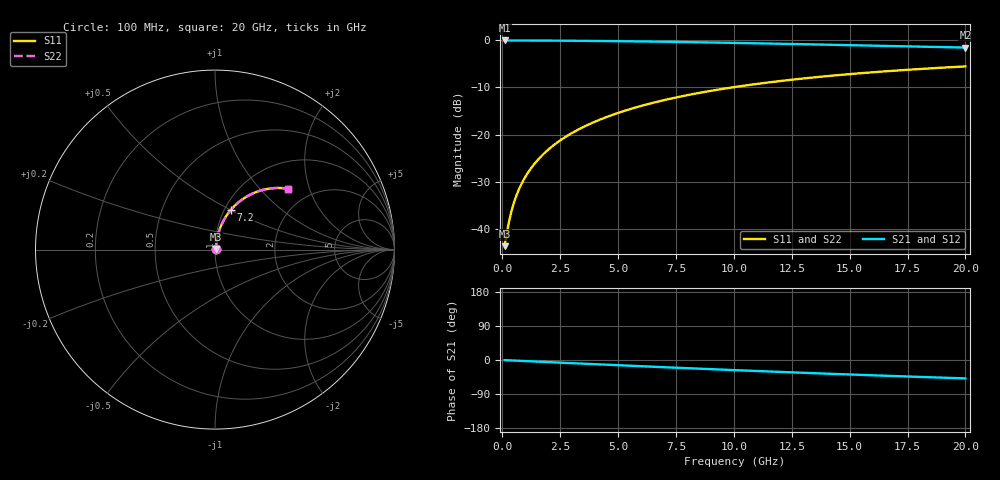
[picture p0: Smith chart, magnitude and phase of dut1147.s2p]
! Touchstone file exported from HFSS 2026.1.0
!  File:  C:/ffzhzh/LocalFiles/Ansys_Project_Files/temp_train_BSMRDL_1147_1783175558_18472.aedt
!  Generated:  10:33:53 PM Jul  4, 2026
!  Design:  BSMRDL
!  Project:  temp_train_BSMRDL_1147_1783175558_18472
! Variables:
!  h_bsmrdl = 2.87um
!  h_ox = 20um
!  h_rdl = 5um
!  h_sub = 80um
!  h_tmrdl = 5um
!  h_tsv = 80um
!  h_via = 3um
!  l_bsmrdl = 649.09um
!  l_sub = 1049.09um
!  l_tmrdl = 200um
!  m_sub = 200um
!  pitch = 52.77um
!  r_tsv = 6um
!  s_tmrdl = 10um
!  w_bsmrdl = 14.96um
!  w_sub = 500um
!  w_tmrdl = 12um
!  x_tsv_center1 = 206um
!  x_tsv_center2 = 870.05um
!  x_tsv_center3 = 1082.05um
!  x_tsv_center4 = 1746.1um
!  x_tsv_center5 = 1958.1um
!  x_tsv_center6 = 2622.15um
# GHz S MA R 50.000000
! Terminal data exported
! Port[1] = BSM_RDL1_1_T1
! Port[2] = BSM_RDL1_1_T2
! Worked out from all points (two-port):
!   200 points, 100 MHz to 20 GHz, reference 50 ohm
!   highest |S21| = -0.05 dB at 100 MHz (marker M1); lowest = -1.6 dB at 20 GHz (marker M2)
!   |S21| within 3 dB of the highest: start of sweep to end of sweep
!   lowest |S11| = -43.7 dB at 100 MHz (marker M3), VSWR 1.01, Z = 50.5 + j0.367 ohm
!   |S11| at or under -10 dB: start of sweep to 9.928 GHz
!   |S22| runs from -43.7 to -5.5 dB; largest |S21 - S12| = 5.7e-15
!   S11 on the Smith chart (normalised r, x): 100 MHz: 1.01, +0.01; 7.2 GHz: 1.07, +0.50; 20 GHz: 1.53, +1.44
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0.1  0.006567 33.6  0.9945 -0.3  0.9945 -0.3  0.006567 33.6
! Gamma 0 0 0 0
! Port Impedance 50 0 50 0
0.2  0.009157 52.3  0.9944 -0.6  0.9944 -0.6  0.009157 52.3
0.3  0.01227 61.8  0.9943 -0.9  0.9943 -0.9  0.01227 61.8
0.4  0.01556 67.1  0.9941 -1.1  0.9941 -1.1  0.01556 67.1
0.5  0.01891 70.4  0.9939 -1.4  0.9939 -1.4  0.01891 70.4
0.6  0.02228 72.6  0.9938 -1.7  0.9938 -1.7  0.02228 72.6
0.8  0.02905 75.4  0.9934 -2.3  0.9934 -2.3  0.02905 75.4
1.1  0.03921 77.4  0.9928 -3.1  0.9928 -3.1  0.03921 77.5
1.5  0.0528 78.6  0.992 -4.2  0.992 -4.2  0.0528 78.6
1.8  0.063 78.8  0.9913 -5.0  0.9913 -5.0  0.063 78.8
2.1  0.07319 78.8  0.9905 -5.9  0.9905 -5.9  0.07319 78.8
2.7  0.09352 78.1  0.9886 -7.5  0.9886 -7.5  0.09352 78.2
3.5  0.1204 76.8  0.9854 -9.7  0.9854 -9.7  0.1204 76.8
4.2  0.1436 75.3  0.982 -11.6  0.982 -11.6  0.1436 75.3
5  0.1696 73.5  0.9775 -13.8  0.9775 -13.8  0.1696 73.5
6.8  0.2262 69.2  0.9652 -18.6  0.9652 -18.6  0.2262 69.2
7.2  0.2383 68.2  0.9621 -19.6  0.9621 -19.6  0.2383 68.2
8.6  0.2794 64.8  0.9504 -23.2  0.9504 -23.2  0.2794 64.8
10.1  0.3209 61.2  0.9366 -26.9  0.9366 -26.9  0.3209 61.2
13.4  0.4026 53.6  0.9036 -34.7  0.9036 -34.7  0.4026 53.6
16.7  0.4714 46.6  0.8693 -41.9  0.8693 -41.9  0.4713 46.6
20  0.528 40.0  0.8362 -48.6  0.8362 -48.6  0.528 40.1
